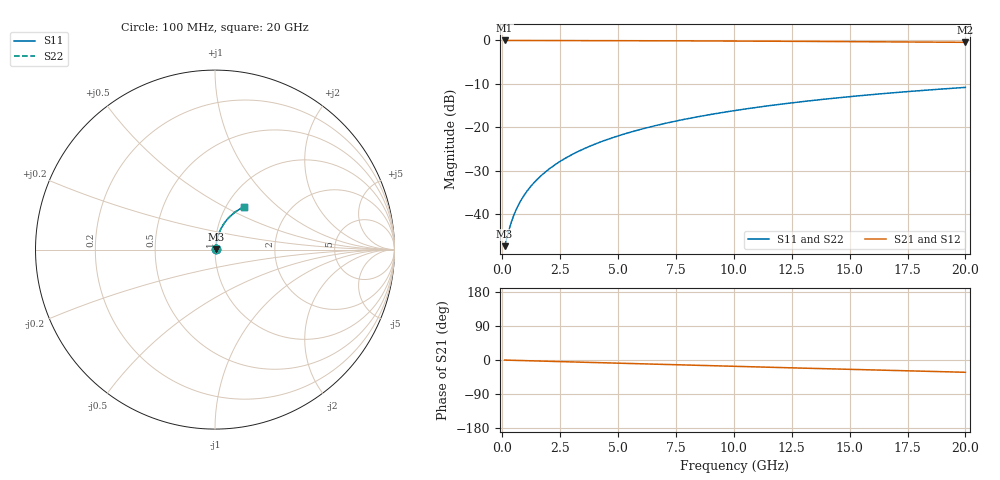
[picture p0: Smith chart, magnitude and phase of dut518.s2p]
! Touchstone file exported from HFSS 2026.1.0
!  File:  C:/ffzhzh/LocalFiles/Ansys_Project_Files/temp_train_BSMRDL_518_1783014524_46388.aedt
!  Generated:  01:50:07 AM Jul  3, 2026
!  Design:  BSMRDL
!  Project:  temp_train_BSMRDL_518_1783014524_46388
! Variables:
!  h_bsmrdl = 2.07um
!  h_ox = 20um
!  h_rdl = 5um
!  h_sub = 80um
!  h_tmrdl = 5um
!  h_tsv = 80um
!  h_via = 3um
!  l_bsmrdl = 463.98um
!  l_sub = 863.98um
!  l_tmrdl = 200um
!  m_sub = 200um
!  pitch = 42.16um
!  r_tsv = 6um
!  s_tmrdl = 10um
!  w_bsmrdl = 22.44um
!  w_sub = 500um
!  w_tmrdl = 12um
!  x_tsv_center1 = 206um
!  x_tsv_center2 = 692.42um
!  x_tsv_center3 = 904.42um
!  x_tsv_center4 = 1390.84um
!  x_tsv_center5 = 1602.84um
!  x_tsv_center6 = 2089.26um
# GHz S MA R 50.000000
! Terminal data exported
! Port[1] = BSM_RDL1_1_T1
! Port[2] = BSM_RDL1_1_T2
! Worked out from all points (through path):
!   200 points, 100 MHz to 20 GHz, reference 50 ohm
!   highest |S21| = -0.03 dB at 100 MHz (marker M1); lowest = -0.5 dB at 20 GHz (marker M2)
!   group delay of S21, straight-line fit = 4.51 ps
!   lowest |S11| = -47.3 dB at 100 MHz (marker M3), VSWR 1.01, Z = 50.4 + j0.182 ohm
!   |S11| at or under -10 dB: start of sweep to end of sweep
!   |S22| runs from -47.3 to -10.8 dB; largest |S21 - S12| = 3e-15
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0.1  0.004298 24.9  0.9961 -0.2  0.9961 -0.2  0.004298 24.9
! Gamma 0 0 0 0
! Port Impedance 50 0 50 0
0.3  0.006759 52.0  0.9959 -0.5  0.9959 -0.5  0.006759 52.0
0.4  0.008253 58.3  0.9957 -0.7  0.9957 -0.7  0.008253 58.3
0.5  0.00978 62.4  0.9956 -0.9  0.9956 -0.9  0.00978 62.4
0.6  0.01131 65.3  0.9954 -1.1  0.9954 -1.1  0.01131 65.3
0.7  0.01284 67.5  0.9953 -1.2  0.9953 -1.2  0.01284 67.5
0.9  0.01589 70.6  0.995 -1.6  0.995 -1.6  0.01589 70.6
1.2  0.02047 73.6  0.9948 -2.1  0.9948 -2.1  0.02047 73.6
1.4  0.02354 74.9  0.9946 -2.4  0.9946 -2.4  0.02354 74.9
1.7  0.02816 76.3  0.9944 -2.9  0.9944 -2.9  0.02816 76.3
2.2  0.03592 77.6  0.994 -3.7  0.994 -3.7  0.03592 77.6
2.8  0.04528 78.3  0.9935 -4.7  0.9935 -4.7  0.04528 78.3
3.5  0.05623 78.4  0.9928 -5.9  0.9928 -5.9  0.05623 78.4
4.2  0.06716 78.0  0.992 -7.1  0.992 -7.1  0.06716 78.0
5  0.07961 77.3  0.991 -8.4  0.991 -8.4  0.07961 77.4
5.9  0.09352 76.4  0.9896 -9.9  0.9896 -9.9  0.09352 76.4
6.8  0.1073 75.2  0.988 -11.4  0.988 -11.4  0.1073 75.3
8.3  0.13 73.2  0.9849 -13.9  0.9849 -13.9  0.13 73.2
10.1  0.1566 70.6  0.9806 -16.8  0.9806 -16.8  0.1566 70.6
13.4  0.2034 65.6  0.9711 -22.2  0.9711 -22.2  0.2034 65.6
16.7  0.2471 60.6  0.9601 -27.3  0.9601 -27.3  0.2471 60.6
20  0.2876 55.7  0.9481 -32.4  0.9481 -32.4  0.2876 55.7
